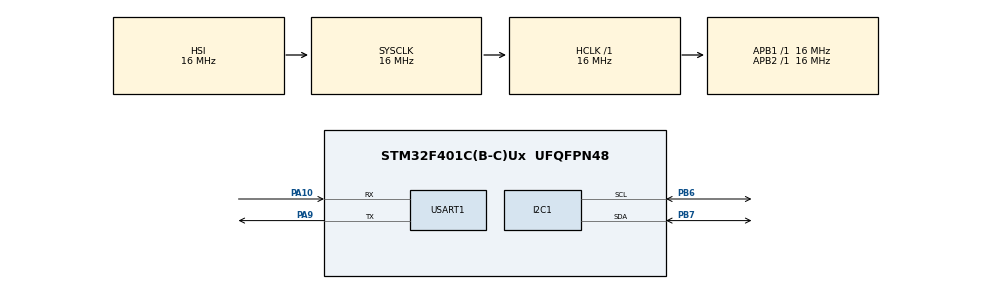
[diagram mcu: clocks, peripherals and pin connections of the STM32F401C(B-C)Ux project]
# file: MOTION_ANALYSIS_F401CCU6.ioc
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Mcu.Family=STM32F4
Mcu.Name=STM32F401C(B-C)Ux
Mcu.Package=UFQFPN48
NVIC.PriorityGroup=NVIC_PRIORITYGROUP_4
PA10.Mode=Asynchronous
PA10.Signal=USART1_RX
PA13.Mode=Serial_Wire
PA13.Signal=SYS_JTMS-SWDIO
PA14.Mode=Serial_Wire
PA14.Signal=SYS_JTCK-SWCLK
PA9.Mode=Asynchronous
PA9.Signal=USART1_TX
PB6.Mode=I2C
PB6.Signal=I2C1_SCL
PB7.Mode=I2C
PB7.Signal=I2C1_SDA
PH0\ -\ OSC_IN.Mode=HSE-External-Oscillator
PH0\ -\ OSC_IN.Signal=RCC_OSC_IN
PH1\ -\ OSC_OUT.Mode=HSE-External-Oscillator
PH1\ -\ OSC_OUT.Signal=RCC_OSC_OUT
ProjectManager.HeapSize=0x200
ProjectManager.StackSize=0x400
ProjectManager.TargetToolchain=STM32CubeIDE
RCC.AHBFreq_Value=16000000
RCC.APB1Freq_Value=16000000
RCC.APB2Freq_Value=16000000
RCC.CortexFreq_Value=16000000
RCC.HSE_VALUE=25000000
RCC.HSI_VALUE=16000000
RCC.LSE_VALUE=32768
RCC.SYSCLKFreq_VALUE=16000000
RCC.VCOOutputFreq_Value=192000000
USART1.VirtualMode=VM_ASYNC
board=custom

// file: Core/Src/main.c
/* USER CODE BEGIN Header */
/**
  ******************************************************************************
  * @file           : main.c
  * @brief          : Main program body
  ******************************************************************************
  * @attention
  *
  * Copyright (c) 2026 STMicroelectronics.
  * All rights reserved.
  *
  * This software is licensed under terms that can be found in the LICENSE file
  * in the root directory of this software component.
  * If no LICENSE file comes with this software, it is provided AS-IS.
  *
  ******************************************************************************
  */
/* USER CODE END Header */
#include "main.h"
#include <stdio.h>
#include <string.h>
#include <stdbool.h>
#include <stdlib.h>
#include "arm_math.h"
#include "arm_const_structs.h"
#define FFT_SIZE        512
#define SAMPLE_RATE_HZ  100.0f
#define OVERLAP_SIZE    256

/* USER CODE BEGIN PTD */
float accel_buffer[FFT_SIZE];
float fft_input[FFT_SIZE];
float fft_output[FFT_SIZE];
float fft_mag[FFT_SIZE/2];

uint16_t sample_index = 0;
uint8_t buffer_full = 0;

arm_rfft_fast_instance_f32 fft_instance;

/* USER CODE END PTD */

/* USER CODE BEGIN PD */
typedef enum
{
    STATE_STANDING = 0,
    STATE_WALKING,
    STATE_RUNNING
} MotionState;

MotionState current_state = STATE_STANDING;
MotionState previous_state = STATE_STANDING;
/* USER CODE END PD */

I2C_HandleTypeDef hi2c1;

UART_HandleTypeDef huart1;

void SystemClock_Config(void);
static void MX_GPIO_Init(void);
static void MX_I2C1_Init(void);
static void MX_USART1_UART_Init(void);
/* USER CODE BEGIN PFP */
#define MPU6050_ADDR 0xD0

#define SMPLRT_DIV_REG 0x19
#define GYRO_CONFIG_REG 0x1B
#define ACCEL_CONFIG_REG 0x1C
#define ACCEL_XOUT_H_REG 0x3B
#define TEMP_OUT_H_REG 0x41
#define GYRO_XOUT_H_REG 0x43
#define PWR_MGMT_1_REG 0x6B
#define WHO_AM_I_REG 0x75

int16_t Accel_X_RAW = 0;
int16_t Accel_Y_RAW = 0;
int16_t Accel_Z_RAW = 0;

int16_t Gyro_X_RAW = 0;
int16_t Gyro_Y_RAW = 0;
int16_t Gyro_Z_RAW = 0;

float Ax, Ay, Az, Gx, Gy, Gz;
char buf[200];

void MPU6050_Init (void)
{
	uint8_t check;
	uint8_t Data;

	// check device ID WHO_AM_I

	HAL_I2C_Mem_Read (&hi2c1, MPU6050_ADDR,WHO_AM_I_REG,1, &check, 1, 1000);

	if (check == 104)  // 0x68 will be returned by the sensor if everything goes well
	{
		// power management register 0X6B we should write all 0's to wake the sensor up
		Data = 0;
		HAL_I2C_Mem_Write(&hi2c1, MPU6050_ADDR, PWR_MGMT_1_REG, 1,&Data, 1, 1000);

		// Set DATA RATE of 1KHz by writing SMPLRT_DIV register
		Data = 0x1;
		HAL_I2C_Mem_Write(&hi2c1, MPU6050_ADDR, SMPLRT_DIV_REG, 1, &Data, 1, 1000);

		uint8_t data = 0x03;
		HAL_I2C_Mem_Write(&hi2c1, MPU6050_ADDR, 0x1A, 1, &data, 1, 1000);

		// Set accelerometer configuration in ACCEL_CONFIG Register
		// XA_ST=0,YA_ST=0,ZA_ST=0, FS_SEL=0 -> � 2g
		Data = 0x00;
		HAL_I2C_Mem_Write(&hi2c1, MPU6050_ADDR, ACCEL_CONFIG_REG, 1, &Data, 1, 1000);

		// Set Gyroscopic configuration in GYRO_CONFIG Register
		// XG_ST=0,YG_ST=0,ZG_ST=0, FS_SEL=0 -> � 250 �/s
		Data = 0x00;
		HAL_I2C_Mem_Write(&hi2c1, MPU6050_ADDR, GYRO_CONFIG_REG, 1, &Data, 1, 1000);
	}

}

void MPU6050_Read_Accel (void)
{
	uint8_t Rec_Data[6];

	// Read 6 BYTES of data starting from ACCEL_XOUT_H register

	HAL_I2C_Mem_Read (&hi2c1, MPU6050_ADDR, ACCEL_XOUT_H_REG, 1, Rec_Data, 6, 1000);

	Accel_X_RAW = (int16_t)(Rec_Data[0] << 8 | Rec_Data [1]);
	Accel_Y_RAW = (int16_t)(Rec_Data[2] << 8 | Rec_Data [3]);
	Accel_Z_RAW = (int16_t)(Rec_Data[4] << 8 | Rec_Data [5]);

	/*** convert the RAW values into acceleration in 'g'
	     we have to divide according to the Full scale value set in FS_SEL
	     I have configured FS_SEL = 0. So I am dividing by 16384.0
	     for more details check ACCEL_CONFIG Register              ****/

	Ax = Accel_X_RAW/16384.0;
	Ay = Accel_Y_RAW/16384.0;
	Az = Accel_Z_RAW/16384.0;
}

void MPU6050_Read_Gyro (void)
{
	uint8_t Rec_Data[6];

	// Read 6 BYTES of data starting from GYRO_XOUT_H register

	HAL_I2C_Mem_Read (&hi2c1, MPU6050_ADDR, GYRO_XOUT_H_REG, 1, Rec_Data, 6, 1000);

	Gyro_X_RAW = (int16_t)(Rec_Data[0] << 8 | Rec_Data [1]);
	Gyro_Y_RAW = (int16_t)(Rec_Data[2] << 8 | Rec_Data [3]);
	Gyro_Z_RAW = (int16_t)(Rec_Data[4] << 8 | Rec_Data [5]);

	/*** convert the RAW values into dps (�/s)
	     we have to divide according to the Full scale value set in FS_SEL
	     I have configured FS_SEL = 0. So I am dividing by 131.0
	     for more details check GYRO_CONFIG Register              ****/

	Gx = Gyro_X_RAW/131.0;
	Gy = Gyro_Y_RAW/131.0;
	Gz = Gyro_Z_RAW/131.0;
}
/* USER CODE END PFP */

int main(void)
{

  /* MCU Configuration--------------------------------------------------------*/

  /* Reset of all peripherals, Initializes the Flash interface and the Systick. */
  HAL_Init();

  /* Configure the system clock */
  SystemClock_Config();

  /* Initialize all configured peripherals */
  MX_GPIO_Init();
  MX_I2C1_Init();

  MX_USART1_UART_Init();
  MPU6050_Init();
  arm_rfft_fast_init_f32(&fft_instance, FFT_SIZE);

  HAL_Delay (1000);

  /* Infinite loop */
  while (1)
  {
	  MPU6050_Read_Accel();

//	      accel_buffer[sample_index++] = Ax;
	      float acc_mag = sqrtf(Ax*Ax + Ay*Ay + Az*Az);
	      accel_buffer[sample_index++] = acc_mag;

	      HAL_Delay(10);  // (we will improve this later)

	      if (sample_index >= FFT_SIZE)
	      {
	          buffer_full = 1;
	      }

	      if (buffer_full)
	      {
	          // ----------- DC Removal + Window -----------
	          float mean = 0.0f;

	          for (int i = 0; i < FFT_SIZE; i++)
	              mean += accel_buffer[i];

	          mean /= FFT_SIZE;

	          for (int i = 0; i < FFT_SIZE; i++)
	          {
	              float window = 0.5f *
	                  (1.0f - arm_cos_f32((2.0f * PI * i) / (FFT_SIZE - 1)));

	              fft_input[i] = (accel_buffer[i] - mean) * window;
	          }

	          // ----------- FFT -----------
	          arm_rfft_fast_f32(&fft_instance, fft_input, fft_output, 0);
	          arm_cmplx_mag_f32(fft_output, fft_mag, FFT_SIZE/2);

	          float rms = 0.0f;

	          for (int i = 0; i < FFT_SIZE; i++)
	          {
	              rms += fft_input[i] * fft_input[i];
	          }

	          rms = sqrtf(rms / FFT_SIZE);
	          snprintf(buf, sizeof(buf),
	         	                   "RMS Value: %.2f Hz\r\n",
	         	                   rms);

	         	          HAL_UART_Transmit(&huart1,
	         	                            (uint8_t*)buf,
	         	                            strlen(buf),
	         	                            HAL_MAX_DELAY);

	          // ----------- Find Peak -----------
	          float max_val = 0;
	          uint32_t max_index = 0;

	          for (int i = 1; i < FFT_SIZE/2; i++)
	          {
	        	  float freq = (i * SAMPLE_RATE_HZ) / FFT_SIZE;

	        	      if (freq > 10.0f)   // Ignore high frequency noise
	        	          break;
	              if (fft_mag[i] > max_val)
	              {
	                  max_val = fft_mag[i];
	                  max_index = i;
	              }
	          }

	          float dominant_freq =
	              (max_index * SAMPLE_RATE_HZ) / FFT_SIZE;

	          if (rms < 0.8f)
	          {
	              dominant_freq = 0.0f;  // No motion
	          }

	          static float last_freq = 0;
	          static uint8_t stable_count = 0;

	          if (fabs(dominant_freq - last_freq) < 0.5f)
	          {
	              stable_count++;
	          }
	          else
	          {
	              stable_count = 0;
	          }

	          last_freq = dominant_freq;

	          if (stable_count < 4)
	          {
	              dominant_freq = 0;   // Ignore unstable spike
	          }

	          if (stable_count >= 4)
	          {
	              if (rms < 0.8f)
	              {
	                  current_state = STATE_STANDING;
	              }
	              else if (dominant_freq >= 0.8f && dominant_freq < 3.8f)
	              {
	                  current_state = STATE_WALKING;
	              }
	              else if (dominant_freq >= 3.8f && dominant_freq <= 10.0f)
	              {
	                  current_state = STATE_RUNNING;
	              }
	          }
	          else
	          {
	              // Not stable → do not change state
	              current_state = previous_state;
	          }

	          snprintf(buf, sizeof(buf),
	                   "Dominant Frequency: %.2f Hz\r\n",
	                   dominant_freq);

	          HAL_UART_Transmit(&huart1,
	                            (uint8_t*)buf,
	                            strlen(buf),
	                            HAL_MAX_DELAY);

	          if (current_state != previous_state)
	          {
	              switch(current_state)
	              {
	                  case STATE_STANDING:
	                      sprintf(buf, "STANDING\r\n");
	                      break;

	                  case STATE_WALKING:
	                      sprintf(buf, "WALKING DETECTED\r\n");
	                      break;

	                  case STATE_RUNNING:
	                      sprintf(buf, "RUNNING DETECTED\r\n");
	                      break;
	              }

	              HAL_UART_Transmit(&huart1,
	                                (uint8_t*)buf,
	                                strlen(buf),
	                                HAL_MAX_DELAY);

	              previous_state = current_state;
	          }

	          // ----------- Overlap Shift -----------
	          // Move last 256 samples to beginning
	          for (int i = 0; i < OVERLAP_SIZE; i++)
	          {
	              accel_buffer[i] = accel_buffer[i + OVERLAP_SIZE];
	          }

	          sample_index = OVERLAP_SIZE;
	          buffer_full = 0;
	      }

	  }

  /* USER CODE END 3 */

}

void SystemClock_Config(void)
{
  RCC_OscInitTypeDef RCC_OscInitStruct = {0};
  RCC_ClkInitTypeDef RCC_ClkInitStruct = {0};

  /** Configure the main internal regulator output voltage
  */
  __HAL_RCC_PWR_CLK_ENABLE();
  __HAL_PWR_VOLTAGESCALING_CONFIG(PWR_REGULATOR_VOLTAGE_SCALE2);

  /** Initializes the RCC Oscillators according to the specified parameters
  * in the RCC_OscInitTypeDef structure.
  */
  RCC_OscInitStruct.OscillatorType = RCC_OSCILLATORTYPE_HSI;
  RCC_OscInitStruct.HSIState = RCC_HSI_ON;
  RCC_OscInitStruct.HSICalibrationValue = RCC_HSICALIBRATION_DEFAULT;
  RCC_OscInitStruct.PLL.PLLState = RCC_PLL_NONE;
  if (HAL_RCC_OscConfig(&RCC_OscInitStruct) != HAL_OK)
  {
    Error_Handler();
  }

  /** Initializes the CPU, AHB and APB buses clocks
  */
  RCC_ClkInitStruct.ClockType = RCC_CLOCKTYPE_HCLK|RCC_CLOCKTYPE_SYSCLK
                              |RCC_CLOCKTYPE_PCLK1|RCC_CLOCKTYPE_PCLK2;
  RCC_ClkInitStruct.SYSCLKSource = RCC_SYSCLKSOURCE_HSI;
  RCC_ClkInitStruct.AHBCLKDivider = RCC_SYSCLK_DIV1;
  RCC_ClkInitStruct.APB1CLKDivider = RCC_HCLK_DIV1;
  RCC_ClkInitStruct.APB2CLKDivider = RCC_HCLK_DIV1;

  if (HAL_RCC_ClockConfig(&RCC_ClkInitStruct, FLASH_LATENCY_0) != HAL_OK)
  {
    Error_Handler();
  }
}

static void MX_I2C1_Init(void)
{

  hi2c1.Instance = I2C1;
  hi2c1.Init.ClockSpeed = 100000;
  hi2c1.Init.DutyCycle = I2C_DUTYCYCLE_2;
  hi2c1.Init.OwnAddress1 = 0;
  hi2c1.Init.AddressingMode = I2C_ADDRESSINGMODE_7BIT;
  hi2c1.Init.DualAddressMode = I2C_DUALADDRESS_DISABLE;
  hi2c1.Init.OwnAddress2 = 0;
  hi2c1.Init.GeneralCallMode = I2C_GENERALCALL_DISABLE;
  hi2c1.Init.NoStretchMode = I2C_NOSTRETCH_DISABLE;
  if (HAL_I2C_Init(&hi2c1) != HAL_OK)
  {
    Error_Handler();
  }

}

static void MX_USART1_UART_Init(void)
{

  huart1.Instance = USART1;
  huart1.Init.BaudRate = 115200;
  huart1.Init.WordLength = UART_WORDLENGTH_8B;
  huart1.Init.StopBits = UART_STOPBITS_1;
  huart1.Init.Parity = UART_PARITY_NONE;
  huart1.Init.Mode = UART_MODE_TX_RX;
  huart1.Init.HwFlowCtl = UART_HWCONTROL_NONE;
  huart1.Init.OverSampling = UART_OVERSAMPLING_16;
  if (HAL_UART_Init(&huart1) != HAL_OK)
  {
    Error_Handler();
  }

}

static void MX_GPIO_Init(void)
{

  /* GPIO Ports Clock Enable */
  __HAL_RCC_GPIOH_CLK_ENABLE();
  __HAL_RCC_GPIOA_CLK_ENABLE();
  __HAL_RCC_GPIOB_CLK_ENABLE();

}

void Error_Handler(void)
{
  __disable_irq();
  while (1)
  {
  }
}
